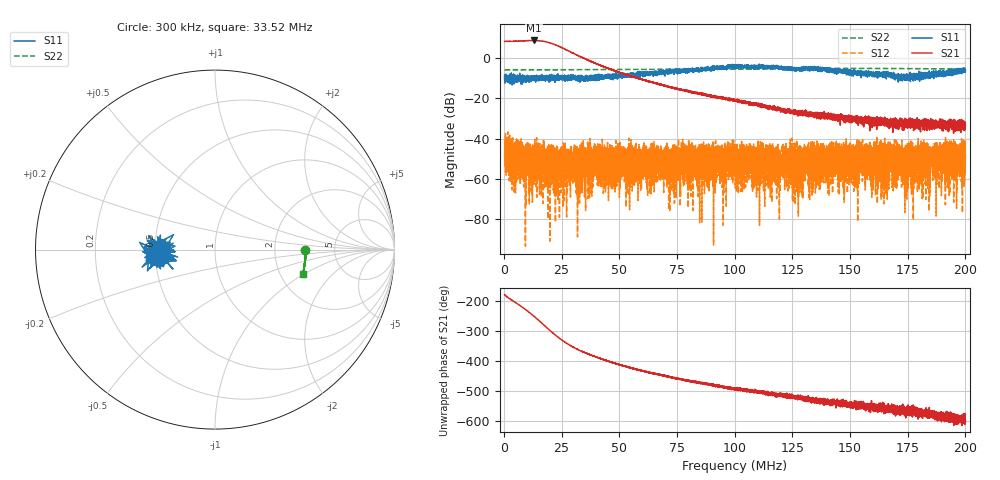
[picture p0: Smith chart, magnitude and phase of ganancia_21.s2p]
# Hz S DB R 50
! CMT, M5065, 19127446, 24.2.4/2
! Date: 10/29/2024 12:17:59 PM
! Data: Format (Calibration Info)
! Freq	S11:dB/Ang(F2)	S21:dB/Ang(F2)	S12:dB/Ang(F2)	S22:dB/Ang(F2)
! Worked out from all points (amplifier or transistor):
!   9000 points, 300 kHz to 200 MHz, reference 50 ohm
!   highest |S21| = 8.6 dB at 13.04 MHz (marker M1)
!   |S21| within 3 dB of that: start of sweep to 23.97 MHz
!   unconditionally stable (mu >= 1): start of sweep to end of sweep
!   at 33.59 MHz: K = 118.40, MAG = 2.1 dB, |S12| = -51.2 dB
!   at 100.2 MHz: K = 542.50, MAG = -17.3 dB, |S12| = -47.2 dB
!   at 200 MHz: K = 2766.09, MAG = -30.6 dB, |S12| = -47.0 dB
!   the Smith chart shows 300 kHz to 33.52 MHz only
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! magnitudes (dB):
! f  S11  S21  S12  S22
! 300 kHz  -10.4  8.1  -48.9  -6.0
! 2.097 MHz  -9.9  8.2  -48.1  -6.0
! 4.117 MHz  -11.4  8.1  -47.7  -5.9
! 13.04 MHz  -9.7  8.6  -48.3  -5.9
! 33.59 MHz  -11.2  0.4  -51.2  -5.9
! 51.83 MHz  -9.2  -7.8  -48.6  -5.8
! 58.93 MHz  -8.0  -10.4  -56.8  -5.7
! 60.82 MHz  -7.8  -11.0  -54.1  -5.7
! 62.75 MHz  -7.6  -11.7  -47.5  -5.7
! 66.87 MHz  -7.9  -13.0  -44.8  -5.7
! 72.13 MHz  -7.1  -14.4  -51.6  -5.7
! 77.95 MHz  -6.7  -16.0  -49.9  -5.7
! 80.43 MHz  -6.9  -17.0  -50.3  -5.7
! 100.2 MHz  -3.7  -21.1  -47.2  -5.6
! 133.4 MHz  -6.1  -28.4  -46.4  -5.3
! 166.7 MHz  -8.5  -30.8  -42.2  -5.3
! 173.7 MHz  -9.3  -34.1  -47.0  -5.3
! 176.4 MHz  -9.8  -33.4  -45.2  -5.4
! 179.1 MHz  -9.7  -32.1  -44.5  -5.4
! 181.5 MHz  -7.4  -35.6  -48.5  -5.4
! 193.2 MHz  -6.6  -33.2  -67.5  -5.4
! 200 MHz  -6.1  -33.3  -47.0  -5.5
